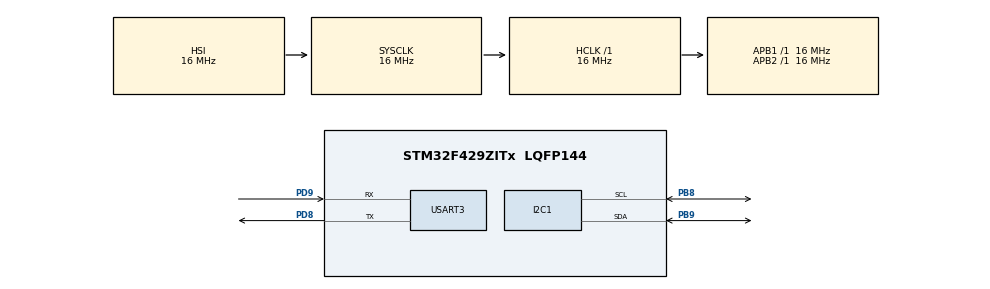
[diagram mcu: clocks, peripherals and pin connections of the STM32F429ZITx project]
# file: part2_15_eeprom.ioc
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Mcu.Family=STM32F4
NVIC.USART3_IRQn=true\:0\:0\:false\:true\:true\:1\:true\:true
RCC.CortexFreq_Value=16000000
VP_RTC_VS_RTC_Activate.Mode=RTC_Enabled
PC14/OSC32_IN.Mode=LSE-External-Oscillator
PD9.Signal=USART3_RX
PD9.Mode=Asynchronous
ProjectManager.StackSize=0x400
ProjectManager.TargetToolchain=STM32CubeIDE
RTC.Year=21
PB9.Mode=I2C
PD8.Signal=USART3_TX
PD8.Mode=Asynchronous
RCC.AHBFreq_Value=16000000
RCC.HSE_VALUE=25000000
board=custom
RCC.VCOOutputFreq_Value=192000000
RCC.APB2Freq_Value=16000000
RTC.Month=RTC_MONTH_JUNE
Mcu.Name=STM32F429ZITx
RCC.SYSCLKFreq_VALUE=16000000
RTC.Hours=12
Mcu.Package=LQFP144
PB9.Signal=I2C1_SDA
USART3.VirtualMode=VM_ASYNC
PC14/OSC32_IN.Signal=RCC_OSC32_IN
PC15/OSC32_OUT.Mode=LSE-External-Oscillator
VP_RTC_VS_RTC_Calendar.Mode=RTC_Calendar
RTC.HourFormat=RTC_HOURFORMAT_12
ProjectManager.HeapSize=0x200
RCC.HSI_VALUE=16000000
NVIC.PriorityGroup=NVIC_PRIORITYGROUP_4
PB8.Mode=I2C
PB8.Signal=I2C1_SCL
PC15/OSC32_OUT.Signal=RCC_OSC32_OUT
RCC.APB1Freq_Value=16000000
RTC.Date=21

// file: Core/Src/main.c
/* USER CODE BEGIN Header */
/**
  ******************************************************************************
  * @file           : main.c
  * @brief          : Main program body
  ******************************************************************************
  * @attention
  *
  * <h2><center>&copy; Copyright (c) 2021 STMicroelectronics.
  * All rights reserved.</center></h2>
  *
  * This software component is licensed by ST under BSD 3-Clause license,
  * the "License"; You may not use this file except in compliance with the
  * License. You may obtain a copy of the License at:
  *                        opensource.org/licenses/BSD-3-Clause
  *
  ******************************************************************************
  */
/* USER CODE END Header */
#include "main.h"
#include "i2c.h"
#include "rtc.h"
#include "usart.h"
#include "gpio.h"

/* USER CODE BEGIN Includes */
//#include "stm32_ds3231_at24c32.h"
#include "stm32_ds3231_at24c32.h"
#include "stdlib.h"
#include "stdio.h"
#include "string.h"
#include "math.h"
#include "time.h"

/* USER CODE END Includes */

/* USER CODE BEGIN PV */
uint8_t* write_buf;
uint8_t* read_buf;
char tx_buf[5000];
int idx;

/* USER CODE END PV */

void SystemClock_Config(void);
static void MX_NVIC_Init(void);

int main(void)
{

  /* MCU Configuration--------------------------------------------------------*/

  /* Reset of all peripherals, Initializes the Flash interface and the Systick. */
  HAL_Init();

  /* Configure the system clock */
  SystemClock_Config();

  /* Initialize all configured peripherals */
  MX_GPIO_Init();
  MX_I2C1_Init();
  MX_RTC_Init();
  MX_USART3_UART_Init();

  /* Initialize interrupts */
  MX_NVIC_Init();
  /* USER CODE BEGIN 2 */

  _RTC rtc;
  rtc.Year = 21;
  rtc.Month = 6;
  rtc.Date = 17;

  rtc.DaysOfWeek = THURSDAY;

  rtc.Hour = 12;
  rtc.Min = 0;
  rtc.Sec = 0;

  DS3231_AT24C32_Init(&hi2c1);
  // DS3231_SetTime(&rtc);
  /* USER CODE END 2 */

  /* Infinite loop */
  /* USER CODE BEGIN WHILE */
 /*
  write_buf = (uint8_t*)calloc(10,sizeof(uint8_t));
  read_buf  = (uint8_t*)calloc(10,sizeof(uint8_t));

 for(int i=0;i<10;i++)
 {
  	 write_buf[i]=i;
 }
 char str[20];
 AT24C32_EEPROM_write(0x012a,write_buf,10);
// HAL_Delay(1000);
 AT24C32_EEPROM_read(0x012a,read_buf,10);
 //HAL_Delay(1000);
 memset(tx_buf,0,sizeof(tx_buf));
 sprintf(tx_buf,"\r\n [reading start]");
 for(int i=0;i<10;i++)
 {

	 sprintf(str,"[%d]%#x ",i,read_buf[i]);
	 strcat(tx_buf,str);
 }

 HAL_UART_Transmit(&huart3,(uint8_t*)tx_buf,strlen(tx_buf),10000);
   free(write_buf);
   free(read_buf);
   *write_buf=0xcc;
    AT24C32_EEPROM_write(0x012a,write_buf,1);
  //  HAL_Delay(1000);
    AT24C32_EEPROM_read(0x012a,read_buf,1);
 //   HAL_Delay(1000);
    memset(tx_buf,0,sizeof(tx_buf));
    sprintf(tx_buf,"\r\n [byte]");

   	 sprintf(str,"read 1byte %#x",*read_buf);
   	 strcat(tx_buf,str);
   	HAL_UART_Transmit(&huart3,(uint8_t*)tx_buf,strlen(tx_buf),10000);
*/

  while (1)
  {
	  //DS3231_GetTime(&rtc);
	 	//    sprintf(tx_buf, "\r\n20%2d-%2d-%2d %d :%d :%2d\r\n",rtc.Year,rtc.Month,rtc.Date, rtc.Hour,rtc.Min,rtc.Sec);
	 	  //  HAL_UART_Transmit(&huart3,(uint8_t*)tx_buf,strlen(tx_buf),1000);
	 	   // HAL_Delay(1000);
    /* USER CODE END WHILE */

  }
}

void SystemClock_Config(void)
{
  RCC_OscInitTypeDef RCC_OscInitStruct = {0};
  RCC_ClkInitTypeDef RCC_ClkInitStruct = {0};
  RCC_PeriphCLKInitTypeDef PeriphClkInitStruct = {0};

  /** Configure the main internal regulator output voltage
  */
  __HAL_RCC_PWR_CLK_ENABLE();
  __HAL_PWR_VOLTAGESCALING_CONFIG(PWR_REGULATOR_VOLTAGE_SCALE3);
  /** Initializes the RCC Oscillators according to the specified parameters
  * in the RCC_OscInitTypeDef structure.
  */
  RCC_OscInitStruct.OscillatorType = RCC_OSCILLATORTYPE_HSI|RCC_OSCILLATORTYPE_LSI;
  RCC_OscInitStruct.HSIState = RCC_HSI_ON;
  RCC_OscInitStruct.HSICalibrationValue = RCC_HSICALIBRATION_DEFAULT;
  RCC_OscInitStruct.LSIState = RCC_LSI_ON;
  RCC_OscInitStruct.PLL.PLLState = RCC_PLL_NONE;
  if (HAL_RCC_OscConfig(&RCC_OscInitStruct) != HAL_OK)
  {
    Error_Handler();
  }
  /** Initializes the CPU, AHB and APB buses clocks
  */
  RCC_ClkInitStruct.ClockType = RCC_CLOCKTYPE_HCLK|RCC_CLOCKTYPE_SYSCLK
                              |RCC_CLOCKTYPE_PCLK1|RCC_CLOCKTYPE_PCLK2;
  RCC_ClkInitStruct.SYSCLKSource = RCC_SYSCLKSOURCE_HSI;
  RCC_ClkInitStruct.AHBCLKDivider = RCC_SYSCLK_DIV1;
  RCC_ClkInitStruct.APB1CLKDivider = RCC_HCLK_DIV1;
  RCC_ClkInitStruct.APB2CLKDivider = RCC_HCLK_DIV1;

  if (HAL_RCC_ClockConfig(&RCC_ClkInitStruct, FLASH_LATENCY_0) != HAL_OK)
  {
    Error_Handler();
  }
  PeriphClkInitStruct.PeriphClockSelection = RCC_PERIPHCLK_RTC;
  PeriphClkInitStruct.RTCClockSelection = RCC_RTCCLKSOURCE_LSI;
  if (HAL_RCCEx_PeriphCLKConfig(&PeriphClkInitStruct) != HAL_OK)
  {
    Error_Handler();
  }
}

/**
  * @brief NVIC Configuration.
  * @retval None
  */
static void MX_NVIC_Init(void)
{
  /* USART3_IRQn interrupt configuration */
  HAL_NVIC_SetPriority(USART3_IRQn, 0, 0);
  HAL_NVIC_EnableIRQ(USART3_IRQn);
}

void Error_Handler(void)
{
  __disable_irq();
  while (1)
  {
  }
}

/************************ (C) COPYRIGHT STMicroelectronics *****END OF FILE****/
